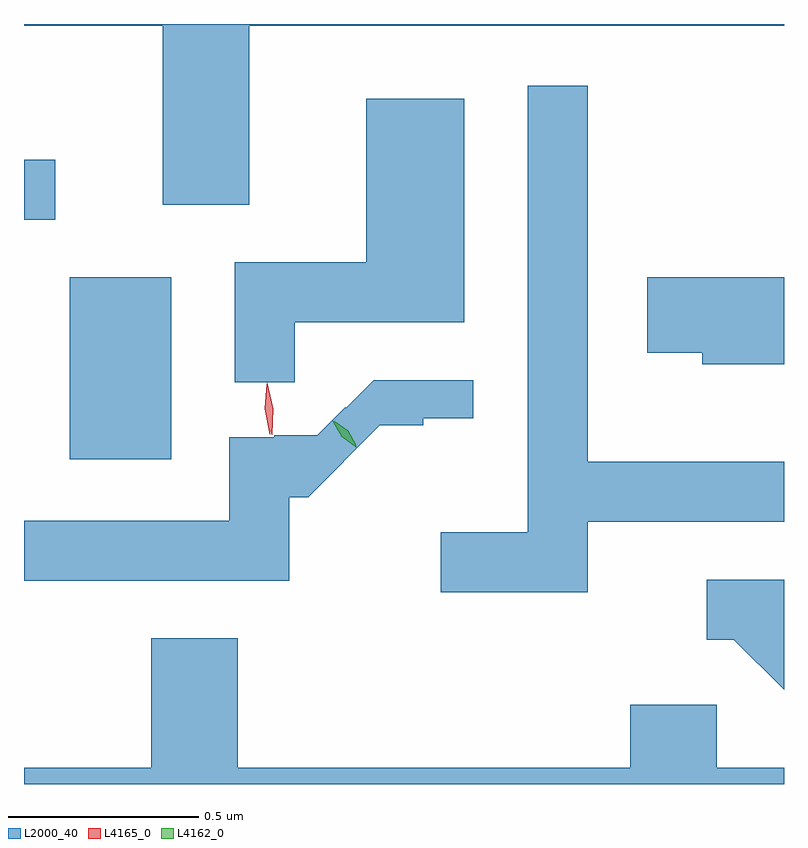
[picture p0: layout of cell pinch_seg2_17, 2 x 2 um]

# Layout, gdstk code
import gdstk
lib = gdstk.Library(unit=1e-6, precision=1e-09)
def R(c, l, rs):  # rectangles x0, y0, x1, y1
    for r in rs: c.add(gdstk.rectangle(r[:2], r[2:], *l))
def P(c, l, *ps):  # polygons
    for p in ps: c.add(gdstk.Polygon(p, *l))
L2000_40 = (2000, 40)
L4162_0 = (4162, 0)
L4165_0 = (4165, 0)

pinch_seg2_17 = lib.new_cell('pinch_seg2_17')
R(pinch_seg2_17, L2000_40, [(1731.856,1093.796,1732.124,1094.274), (1731.736,1094.426,1731.818,1094.584)])
P(pinch_seg2_17, L2000_40, [(1732.329,1094.936),(1733.736,1094.936),(1733.736,1094.941),(1731.736,1094.941),(1731.736,1094.936),(1732.101,1094.936),(1732.101,1094.466),(1732.329,1094.466)],
  [(1733.219,1093.631),(1733.736,1093.631),(1733.736,1093.789),(1733.219,1093.789),(1733.219,1094.778),(1733.061,1094.778),(1733.061,1093.604),(1732.833,1093.604),(1732.833,1093.446),(1733.219,1093.446)],
  [(1732.449,1094.156),(1732.894,1094.156),(1732.894,1094.744),(1732.636,1094.744),(1732.636,1094.314),(1732.291,1094.314),(1732.291,1093.998),(1732.449,1093.998)],
  [(1733.736,1094.274),(1733.376,1094.274),(1733.376,1094.076),(1733.521,1094.076),(1733.521,1094.046),(1733.736,1094.046)],
  [(1732.434,1093.696),(1732.484,1093.696),(1732.672,1093.885),(1732.786,1093.885),(1732.786,1093.903),(1732.918,1093.903),(1732.918,1094.004),(1732.657,1094.004),(1732.584,1093.931),(1732.582,1093.933),(1732.508,1093.859),(1732.395,1093.859),(1732.395,1093.854),(1732.276,1093.854),(1732.276,1093.634),(1731.736,1093.634),(1731.736,1093.476),(1732.434,1093.476)],
  [(1733.736,1093.479),(1733.533,1093.479),(1733.533,1093.321),(1733.604,1093.321),(1733.736,1093.189)],
  [(1733.736,1092.984),(1733.559,1092.984),(1733.559,1093.149),(1733.331,1093.149),(1733.331,1092.984),(1732.299,1092.984),(1732.299,1093.324),(1732.071,1093.324),(1732.071,1092.984),(1731.736,1092.984),(1731.736,1092.941),(1733.736,1092.941)])
P(pinch_seg2_17, L4162_0, [(1732.611,1093.826),(1732.572,1093.855),(1732.548,1093.896),(1732.548,1093.897),(1732.548,1093.897),(1732.587,1093.868),(1732.611,1093.827),(1732.611,1093.826)],
  [(1732.609,1093.833),(1732.574,1093.858),(1732.553,1093.895),(1732.553,1093.896),(1732.554,1093.896),(1732.589,1093.871),(1732.61,1093.833),(1732.61,1093.833)])
P(pinch_seg2_17, L4165_0, [(1732.388,1093.86),(1732.372,1093.928),(1732.376,1093.997),(1732.376,1093.997),(1732.376,1093.997),(1732.392,1093.929),(1732.389,1093.86),(1732.389,1093.86)],
  [(1732.383,1093.862),(1732.37,1093.928),(1732.375,1093.994),(1732.376,1093.994),(1732.376,1093.994),(1732.39,1093.929),(1732.384,1093.862),(1732.384,1093.862)])

lib.write_gds('pinch_seg2_17.gds')
